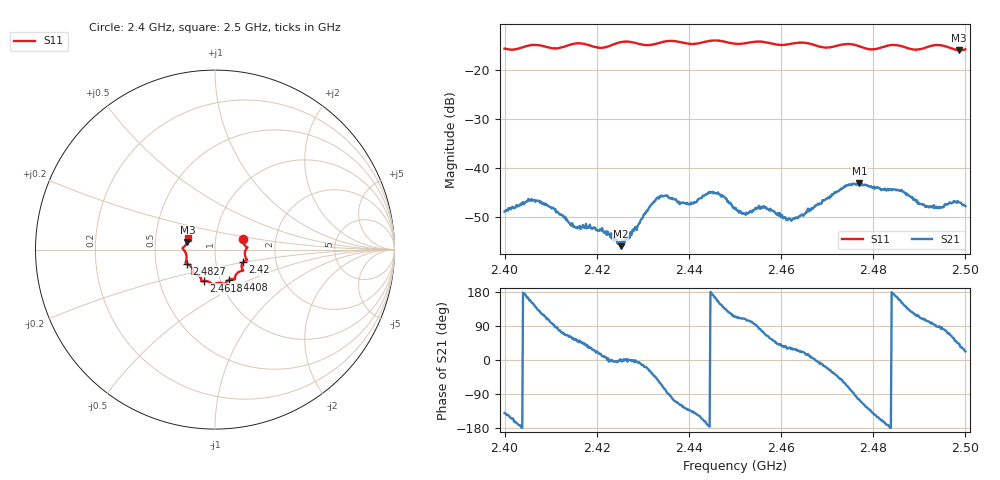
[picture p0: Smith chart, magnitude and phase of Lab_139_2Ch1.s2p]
# Hz S RI R 50
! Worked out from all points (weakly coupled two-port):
!   601 points, 2.4 GHz to 2.5 GHz, reference 50 ohm
!   highest |S21| = -43.22 dB at 2.477 GHz (marker M1); lowest = -56.1 dB at 2.4252 GHz (marker M2)
!   lowest |S11| = -15.9 dB at 2.4987 GHz (marker M3), VSWR 1.38, Z = 36.5 + j3.23 ohm
!   |S11| at or under -10 dB: start of sweep to end of sweep
!   S12 and S22 are empty: the file has one direction only
!   S11 on the Smith chart (normalised r, x): 2.4 GHz: 1.35, +0.17; 2.42 GHz: 1.36, -0.19; 2.4408 GHz: 1.10, -0.38; 2.4618 GHz: 0.83, -0.30; 2.4827 GHz: 0.72, -0.12; 2.5 GHz: 0.73, +0.09
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2.4e9  0.1547 0.0613  -0.00273 -0.00229  0 0  0 0
2.407e9  0.1811 0.012  -0.00335 0.00319  0 0  0 0
2.416667e9  0.1787 -0.0586  0.00165 0.0018  0 0  0 0
2.42e9  0.1568 -0.0691  0.00214 0.000865  0 0  0 0
2.425167e9  0.1561 -0.1147  0.00157 5.47e-05  0 0  0 0
2.427167e9  0.1565 -0.117  0.00192 -3.67e-06  0 0  0 0
2.433333e9  0.1117 -0.1527  0.00294 -0.004  0 0  0 0
2.440833e9  0.0779 -0.1686  -0.00319 -0.00286  0 0  0 0
2.445167e9  0.0535 -0.1943  -0.0056 0.000797  0 0  0 0
2.45e9  0.0271 -0.185  -0.00163 0.00353  0 0  0 0
2.4525e9  0.002 -0.1901  -0.000903 0.00336  0 0  0 0
2.456167e9  -0.0141 -0.1946  0.00118 0.00373  0 0  0 0
2.461833e9  -0.0612 -0.175  0.00253 0.00165  0 0  0 0
2.466667e9  -0.0761 -0.1681  0.00385 0.000385  0 0  0 0
2.474167e9  -0.1258 -0.1362  0.0026 -0.0061  0 0  0 0
2.477e9  -0.1243 -0.1243  -0.00179 -0.00667  0 0  0 0
2.482667e9  -0.1581 -0.0778  -0.0059 -0.00118  0 0  0 0
2.483333e9  -0.1621 -0.0768  -0.00583 -0.000743  0 0  0 0
2.486167e9  -0.1627 -0.0678  -0.00519 0.00286  0 0  0 0
2.491667e9  -0.1725 -0.00336  -0.000894 0.00397  0 0  0 0
2.498667e9  -0.1542 0.0431  0.00324 0.00301  0 0  0 0
2.5e9  -0.1511 0.0629  0.00374 0.00156  0 0  0 0
